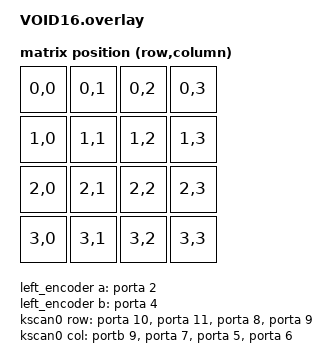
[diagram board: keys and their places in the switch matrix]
/*
 * Copyright (c) 2020 The ZMK Contributors
 *
 * SPDX-License-Identifier: MIT
 */

#include <dt-bindings/zmk/matrix_transform.h>

left_encoder: encoder_left {
        compatible = "alps,ec11";
        label = "LEFT_ENCODER";
        a-gpios = <&porta 2 (GPIO_ACTIVE_HIGH | GPIO_PULL_UP)>;
        b-gpios = <&porta 4 (GPIO_ACTIVE_HIGH | GPIO_PULL_UP)>;
        resolution = <4>;
    };

/ {
    chosen {
        zmk,kscan = &kscan0;
        zmk,matrix_transform = &default_transform;
	/delete-property/ zephyr,console;
	/delete-property/ zephyr,shell-uart;
    };

    default_transform: keymap_transform_0 {
        compatible = "zmk,matrix-transform";
        columns = <4>;
        rows = <4>;
        map = <
    RC(0,0) RC(0,1) RC(0,2) RC(0,3) 
    RC(1,0) RC(1,1) RC(1,2) RC(1,3) 
    RC(2,0) RC(2,1) RC(2,2) RC(2,3) 
    RC(3,0) RC(3,1) RC(3,2) RC(3,3)
        >;
    };
    kscan0: kscan_0 {
        compatible = "zmk,kscan-gpio-matrix";
        label = "KSCAN";
        diode-direction = "col2row";

        col-gpios
            = <&portb 9 GPIO_ACTIVE_HIGH>
            , <&porta 7 GPIO_ACTIVE_HIGH>
            , <&porta 5 GPIO_ACTIVE_HIGH>
            , <&porta 6 GPIO_ACTIVE_HIGH>
            ;

        row-gpios
            = <&porta 10 (GPIO_ACTIVE_HIGH | GPIO_PULL_DOWN)>
            , <&porta 11 (GPIO_ACTIVE_HIGH | GPIO_PULL_DOWN)>
            , <&porta 8 (GPIO_ACTIVE_HIGH | GPIO_PULL_DOWN)>
            , <&porta 9 (GPIO_ACTIVE_HIGH | GPIO_PULL_DOWN)>
            ;
    };   
};

&sercom0 { status = "disabled"; };
&sercom4 { status = "disabled"; };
